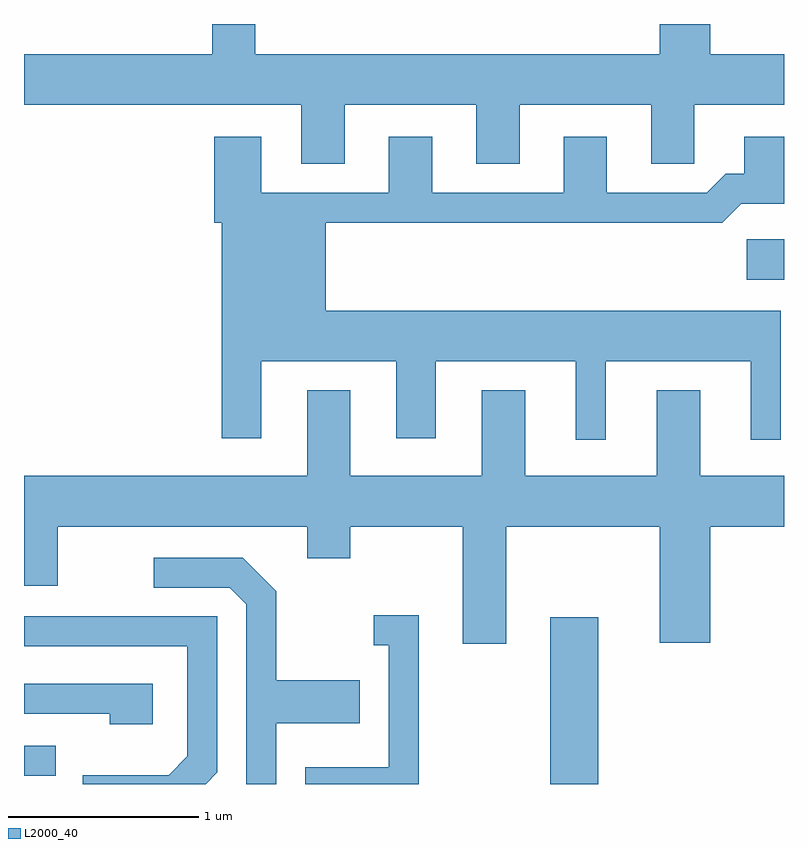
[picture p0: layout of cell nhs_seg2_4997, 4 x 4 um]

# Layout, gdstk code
import gdstk
lib = gdstk.Library(unit=1e-6, precision=1e-09)
def R(c, l, rs):  # rectangles x0, y0, x1, y1
    for r in rs: c.add(gdstk.rectangle(r[:2], r[2:], *l))
def P(c, l, *ps):  # polygons
    for p in ps: c.add(gdstk.Polygon(p, *l))
L2000_40 = (2000, 40)

nhs_seg2_4997 = lib.new_cell('nhs_seg2_4997')
R(nhs_seg2_4997, L2000_40, [(334.381,1095.802,334.634,1096.679), (331.611,1095.846,331.778,1096.004), (335.416,1098.456,335.611,1098.669)])
P(nhs_seg2_4997, L2000_40, [(332.829,1099.802),(332.601,1099.802),(332.601,1099.644),(331.611,1099.644),(331.611,1099.376),(333.071,1099.376),(333.071,1099.066),(333.299,1099.066),(333.299,1099.376),(333.991,1099.376),(333.991,1099.066),(334.219,1099.066),(334.219,1099.376),(334.911,1099.376),(334.911,1099.066),(335.139,1099.066),(335.139,1099.376),(335.611,1099.376),(335.611,1099.644),(335.224,1099.644),(335.224,1099.802),(334.956,1099.802),(334.956,1099.644),(332.829,1099.644)],
  [(334.674,1098.026),(335.436,1098.026),(335.436,1097.613),(335.594,1097.613),(335.594,1098.294),(333.199,1098.294),(333.199,1098.756),(335.287,1098.756),(335.387,1098.856),(335.611,1098.856),(335.611,1099.209),(335.401,1099.209),(335.401,1099.014),(335.304,1099.014),(335.204,1098.914),(334.679,1098.914),(334.679,1099.209),(334.451,1099.209),(334.451,1098.914),(333.759,1098.914),(333.759,1099.209),(333.531,1099.209),(333.531,1098.914),(332.859,1098.914),(332.859,1099.209),(332.611,1099.209),(332.611,1098.756),(332.651,1098.756),(332.651,1097.621),(332.859,1097.621),(332.859,1098.026),(333.571,1098.026),(333.571,1097.621),(333.779,1097.621),(333.779,1098.026),(334.516,1098.026),(334.516,1097.613),(334.674,1097.613)],
  [(334.149,1097.156),(334.956,1097.156),(334.956,1096.546),(335.224,1096.546),(335.224,1097.156),(335.611,1097.156),(335.611,1097.424),(335.169,1097.424),(335.169,1097.874),(334.941,1097.874),(334.941,1097.424),(334.249,1097.424),(334.249,1097.874),(334.021,1097.874),(334.021,1097.424),(333.329,1097.424),(333.329,1097.874),(333.101,1097.874),(333.101,1097.424),(331.611,1097.424),(331.611,1096.846),(331.789,1096.846),(331.789,1097.156),(333.101,1097.156),(333.101,1096.991),(333.329,1096.991),(333.329,1097.156),(333.921,1097.156),(333.921,1096.541),(334.149,1096.541)],
  [(332.939,1096.121),(333.379,1096.121),(333.379,1096.349),(332.939,1096.349),(332.939,1096.817),(332.762,1096.994),(332.293,1096.994),(332.293,1096.836),(332.694,1096.836),(332.781,1096.749),(332.781,1095.802),(332.939,1095.802)],
  [(333.689,1096.689),(333.453,1096.689),(333.453,1096.531),(333.531,1096.531),(333.531,1095.889),(333.091,1095.889),(333.091,1095.802),(333.689,1095.802)],
  [(332.629,1095.864),(332.629,1096.684),(331.611,1096.684),(331.611,1096.526),(332.471,1096.526),(332.471,1095.947),(332.374,1095.849),(331.921,1095.849),(331.921,1095.802),(332.567,1095.802)],
  [(332.289,1096.329),(331.611,1096.329),(331.611,1096.171),(332.061,1096.171),(332.061,1096.116),(332.289,1096.116)])

lib.write_gds('nhs_seg2_4997.gds')
